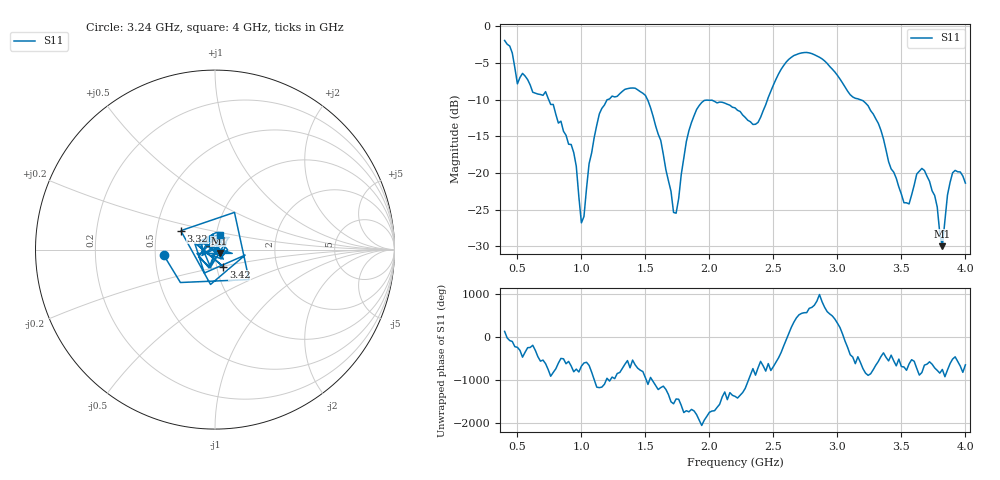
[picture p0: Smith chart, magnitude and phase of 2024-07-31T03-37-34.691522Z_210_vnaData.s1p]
!Created with skrf (http://scikit-rf.org).
# Hz S RI R 50.0
!freq ReS11 ImS11
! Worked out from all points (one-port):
!   181 points, 400 MHz to 4 GHz, reference 50 ohm
!   lowest |S11| = -30.0 dB at 3.82 GHz (marker M1), VSWR 1.07, Z = 52.6 - j1.98 ohm
!   |S11| at or under -10 dB: 744.6 MHz to 1.203 GHz (457.9 MHz wide, 47 % of centre); 1.517 GHz to 2.454 GHz (936.9 MHz wide, 47.2 % of centre); 3.178 GHz to end of sweep
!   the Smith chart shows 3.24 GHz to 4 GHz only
!   S11 on the Smith chart (normalised r, x): 3.24 GHz: 0.55, -0.04; 3.32 GHz: 0.67, +0.15; 3.42 GHz: 1.08, -0.21; 4 GHz: 1.05, +0.17
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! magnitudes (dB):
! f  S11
! 400 MHz  -1.9
! 500 MHz  -7.8
! 720 MHz  -8.9
! 860 MHz  -14.3
! 940 MHz  -17.2
! 1 GHz  -26.8
! 1.14 GHz  -11.9
! 1.3 GHz  -9.2
! 1.5 GHz  -9.4
! 1.62 GHz  -15.6
! 1.72 GHz  -25.4
! 1.76 GHz  -23.5
! 1.82 GHz  -15.7
! 1.9 GHz  -11.3
! 2.2 GHz  -11.1
! 2.38 GHz  -13.1
! 2.66 GHz  -4.0
! 2.88 GHz  -4.4
! 3.1 GHz  -9.3
! 3.24 GHz  -10.8
! 3.32 GHz  -13.2
! 3.42 GHz  -19.5
! 3.56 GHz  -24.2
! 3.68 GHz  -19.7
! 3.76 GHz  -23.1
! 3.82 GHz  -30.0
! 3.9 GHz  -20.0
! 4 GHz  -21.4
